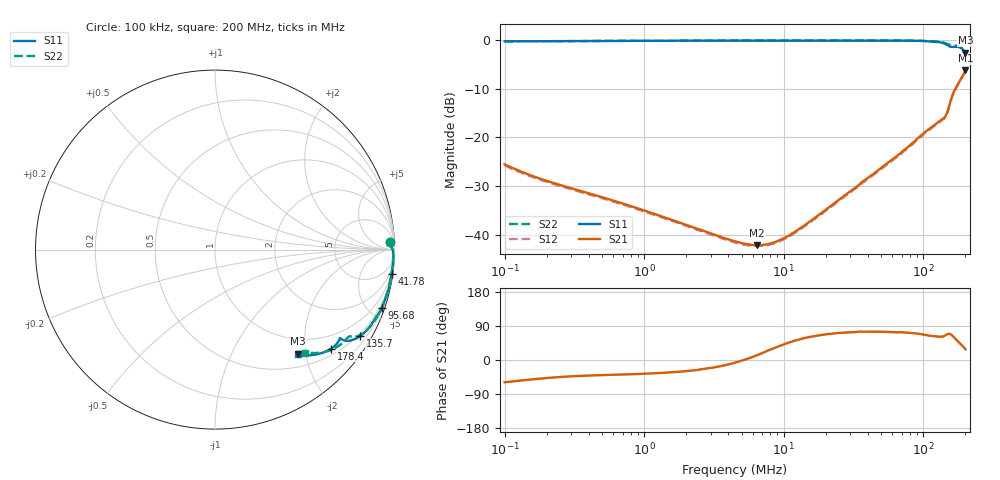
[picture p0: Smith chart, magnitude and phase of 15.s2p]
#  HZ  S  RI  R  50.00
! Rohde & Schwarz Vector Network Analyzer
! Rohde-Schwarz,ZNLE6-2Port,1323001256200024,1.71.1.10-23.02.1.238
! Created: UTC 4/8/2025, 4:22:38 AM
! freq[Hz]  re:S11  im:S11  re:S21  im:S21  re:S12  im:S12  re:S22  im:S22
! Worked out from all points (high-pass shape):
!   1001 points, 100 kHz to 200 MHz, reference 50 ohm
!   highest |S21| = -6.23 dB at 200 MHz (marker M1); lowest = -42.2 dB at 6.441 MHz (marker M2)
!   |S21| within 3 dB of the highest: 175.5 MHz to end of sweep
!   lowest |S11| = -2.6 dB at 200 MHz (marker M3), VSWR 6.76, Z = 36 - j92.9 ohm
!   |S11| at or under -10 dB: nowhere
!   |S22| runs from -2.4 to -0.1 dB; largest |S21 - S12| = 0.0068
!   S11 on the Smith chart (normalised r, x): 100 kHz: 19, +33; 41.78 MHz: 1, -14; 95.68 MHz: 0.28, -5.83; 135.7 MHz: 0.42, -3.60; 178.4 MHz: 0.64, -2.58; 200 MHz: 0.72, -1.86
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100000  0.9729 0.0448  0.0274 -0.0451  0.0267 -0.044  0.9736 0.0436
172851.9  0.9754 0.0286  0.0248 -0.0292  0.0242 -0.0285  0.9761 0.0279
355854.1  0.9793 0.0177  0.0208 -0.0186  0.0203 -0.0182  0.98 0.0173
1266322  0.9869 0.00575  0.013 -0.00896  0.0127 -0.00875  0.9874 0.00585
4472136  0.9913 -0.0103  0.00844 -0.00106  0.0082 -0.00115  0.9921 -0.00837
6441165  0.992 -0.017  0.0076 0.00171  0.00743 0.00161  0.9926 -0.0156
7848582  0.9923 -0.0224  0.00721 0.00353  0.0071 0.0033  0.9928 -0.0205
9710019  0.9924 -0.0288  0.00694 0.0057  0.00682 0.00548  0.9931 -0.0268
1.591428e7  0.9922 -0.05  0.00668 0.0125  0.00665 0.0121  0.9928 -0.0468
2.648232e7  0.9899 -0.0855  0.00754 0.0233  0.00759 0.0226  0.9908 -0.0801
4.178475e7  0.9838 -0.1372  0.0105 0.0386  0.0115 0.0374  0.9851 -0.1283
5.663162e7  0.9743 -0.1877  0.0153 0.0536  0.0159 0.0518  0.9769 -0.1758
7.445538e7  0.9575 -0.2495  0.023 0.0724  0.0239 0.07  0.9621 -0.234
9.568197e7  0.9283 -0.3273  0.0383 0.0966  0.039 0.0935  0.937 -0.3063
1.20188e8  0.8706 -0.4174  0.0622 0.1195  0.0623 0.1158  0.8906 -0.3947
1.357305e8  0.81 -0.4806  0.073 0.1348  0.0723 0.1311  0.8397 -0.4546
1.453405e8  0.7537 -0.5067  0.0685 0.1551  0.0684 0.1514  0.7918 -0.4828
1.544525e8  0.7037 -0.4986  0.0792 0.2054  0.079 0.2005  0.7517 -0.4832
1.641358e8  0.6946 -0.4973  0.1386 0.2526  0.1386 0.246  0.7317 -0.4982
1.784492e8  0.648 -0.5515  0.2415 0.2671  0.2391 0.261  0.6752 -0.5454
1.896369e8  0.5668 -0.5836  0.3291 0.2604  0.3259 0.2548  0.596 -0.5728
2e8  0.4636 -0.5797  0.4286 0.2337  0.424 0.2288  0.5019 -0.5733
